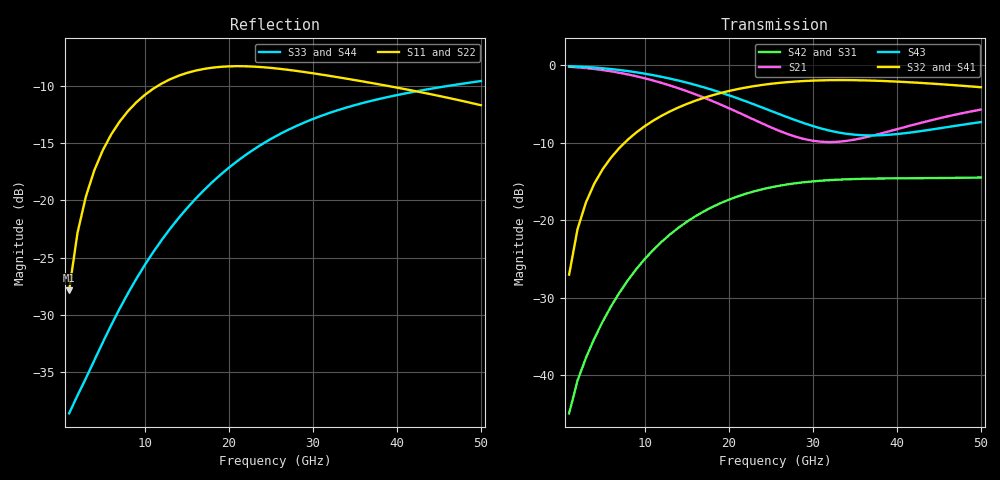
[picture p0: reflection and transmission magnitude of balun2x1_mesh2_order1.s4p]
! Created with skrf 2.2.0 (http://scikit-rf.org).
# GHz S DB R 50.0
! Port[1] = P1
! Port[2] = P2
! Port[3] = P3
! Port[4] = P4
!freq dBS11 angS11 dBS12 angS12 dBS13 angS13
! dBS14 angS14
! dBS21 angS21 dBS22 angS22 dBS23 angS23
! dBS24 angS24
! dBS31 angS31 dBS32 angS32 dBS33 angS33
! dBS34 angS34
! dBS41 angS41 dBS42 angS42 dBS43 angS43
! dBS44 angS44
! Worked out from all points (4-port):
!   50 points, 1 GHz to 50 GHz, reference 50 ohm
!   strongest paths, dB at 1 GHz, 13 GHz, 26 GHz, 38 GHz, 50 GHz:
!     S32: -27.0, -6.0, -2.3, -2.0, -2.8
!     S41: -27.0, -6.0, -2.3, -2.0, -2.9
!     S43: -0.1, -1.7, -6.3, -9.0, -7.3
!     S21: -0.2, -2.6, -8.5, -8.8, -5.7
!     S42: -44.9, -21.8, -15.5, -14.6, -14.5
!     S31: -44.9, -21.9, -15.6, -14.7, -14.5
!   lowest |S11| = -27.9 dB at 1 GHz (marker M1), VSWR 1.08, Z = 51.9 + j3.64 ohm
!   |S11| at or under -10 dB: start of sweep to 11.54 GHz; 38.98 GHz to end of sweep
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1  -27.87 60.0  -0.19 -5.4  -44.90 -126.4  -27.00 84.3
   -0.19 -5.4  -27.87 60.0  -27.00 84.3  -44.89 -126.4
   -44.90 -126.4  -27.00 84.3  -38.62 -9.4  -0.12 -2.9
   -27.00 84.3  -44.89 -126.4  -0.12 -2.9  -38.62 -9.4
3  -19.65 63.9  -0.36 -15.4  -37.77 -154.1  -17.69 77.3
   -0.36 -15.4  -19.65 63.7  -17.69 77.3  -37.74 -154.3
   -37.77 -154.1  -17.69 77.3  -35.55 -40.5  -0.22 -8.1
   -17.69 77.3  -37.74 -154.3  -0.22 -8.1  -35.56 -40.6
8  -12.20 44.7  -1.18 -40.1  -27.72 158.1  -9.58 58.8
   -1.18 -40.1  -12.21 44.3  -9.58 58.7  -27.72 157.8
   -27.72 158.1  -9.58 58.7  -28.13 -84.5  -0.75 -20.8
   -9.58 58.8  -27.72 157.8  -0.75 -20.8  -28.16 -84.8
16  -8.66 11.6  -3.74 -80.9  -19.53 102.4  -4.58 30.5
    -3.74 -80.9  -8.69 10.8  -4.58 30.4  -19.50 101.7
    -19.53 102.4  -4.58 30.4  -19.90 -134.0  -2.53 -38.5
    -4.58 30.5  -19.50 101.7  -2.53 -38.5  -19.88 -134.6
26  -8.49 -20.1  -8.46 -145.5  -15.61 51.8  -2.28 -2.1
    -8.46 -145.5  -8.58 -21.5  -2.28 -2.4  -15.54 50.4
    -15.61 51.8  -2.28 -2.4  -14.23 174.4  -6.30 -48.8
    -2.28 -2.1  -15.54 50.4  -6.30 -48.8  -14.15 173.5
38  -9.87 -45.9  -8.84 118.8  -14.66 12.1  -2.03 -34.8
    -8.84 118.8  -10.09 -47.7  -2.01 -35.2  -14.61 9.7
    -14.66 12.1  -2.01 -35.2  -11.12 129.0  -9.03 -31.4
    -2.03 -34.8  -14.61 9.7  -9.03 -31.4  -10.99 127.9
50  -11.68 -68.2  -5.72 67.5  -14.45 -12.6  -2.86 -59.8
    -5.72 67.5  -12.00 -70.2  -2.83 -60.5  -14.47 -15.8
    -14.45 -12.6  -2.83 -60.5  -9.57 98.6  -7.33 -24.0
    -2.86 -59.8  -14.47 -15.8  -7.33 -24.0  -9.44 97.2
